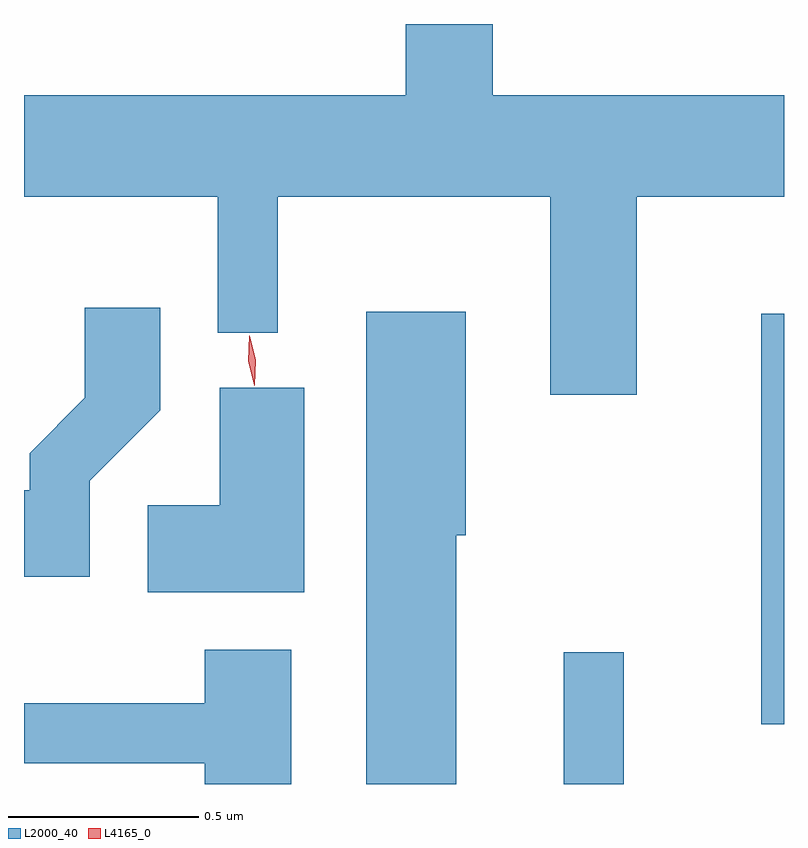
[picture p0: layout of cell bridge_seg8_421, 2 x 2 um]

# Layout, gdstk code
import gdstk
lib = gdstk.Library(unit=1e-6, precision=1e-09)
def R(c, l, rs):  # rectangles x0, y0, x1, y1
    for r in rs: c.add(gdstk.rectangle(r[:2], r[2:], *l))
def P(c, l, *ps):  # polygons
    for p in ps: c.add(gdstk.Polygon(p, *l))
L2000_40 = (2000, 40)
L4165_0 = (4165, 0)

bridge_seg8_421 = lib.new_cell('bridge_seg8_421')
R(bridge_seg8_421, L2000_40, [(746.026,1839.311,746.184,1839.658), (746.546,1839.468,746.606,1840.548)])
P(bridge_seg8_421, L2000_40, [(746.219,1840.856),(746.606,1840.856),(746.606,1841.124),(745.839,1841.124),(745.839,1841.311),(745.611,1841.311),(745.611,1841.124),(744.606,1841.124),(744.606,1840.856),(745.116,1840.856),(745.116,1840.498),(745.274,1840.498),(745.274,1840.856),(745.991,1840.856),(745.991,1840.336),(746.219,1840.336)],
  [(744.779,1840.109),(744.964,1840.294),(744.964,1840.564),(744.766,1840.564),(744.766,1840.327),(744.621,1840.182),(744.621,1840.084),(744.606,1840.084),(744.606,1839.856),(744.779,1839.856)],
  [(745.744,1839.966),(745.769,1839.966),(745.769,1840.554),(745.506,1840.554),(745.506,1839.311),(745.744,1839.311)],
  [(745.344,1840.354),(745.121,1840.354),(745.121,1840.044),(744.931,1840.044),(744.931,1839.816),(745.344,1839.816)],
  [(745.309,1839.664),(745.081,1839.664),(745.081,1839.524),(744.606,1839.524),(744.606,1839.366),(745.081,1839.366),(745.081,1839.311),(745.309,1839.311)])
P(bridge_seg8_421, L4165_0, [(745.212,1840.359),(745.212,1840.36),(745.196,1840.424),(745.199,1840.491),(745.2,1840.491),(745.2,1840.491),(745.216,1840.426),(745.213,1840.36)])

lib.write_gds('bridge_seg8_421.gds')
